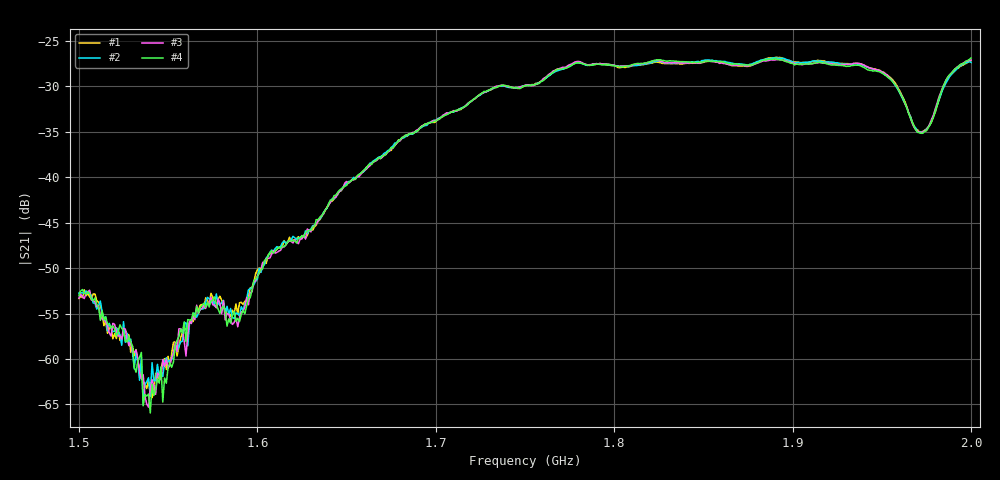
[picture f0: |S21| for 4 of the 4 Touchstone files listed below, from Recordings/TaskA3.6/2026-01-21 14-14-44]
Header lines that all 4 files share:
! NanoVNA-App by SYSJOINT et al v1.1.209 (+OD18)
! Start: 1,5GHz Stop: 2GHz Points: 501
! S-Parameter data: F S11 S21 S12 S22
# Hz S RI R 50
!  Frequency  S11_Real  S11_Imag  S21_Real  S21_Imag  S12_Real  S12_Imag  S22_Real  S22_Imag
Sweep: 1.5 GHz to 2 GHz
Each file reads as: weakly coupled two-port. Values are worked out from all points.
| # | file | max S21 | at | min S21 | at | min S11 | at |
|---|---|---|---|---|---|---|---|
| 1 | 0.s2p | -26.83 dB | 1.891 GHz | -64.3 dB | 1.541 GHz | -29.8 dB | 1.817 GHz |
| 2 | 1.s2p | -26.91 dB | 1.889 GHz | -65.0 dB | 1.536 GHz | -30.0 dB | 1.816 GHz |
| 3 | 2.s2p | -27.09 dB | 1.892 GHz | -65.3 dB | 1.539 GHz | -29.9 dB | 1.816 GHz |
| 4 | 3.s2p | -26.92 dB | 2 GHz | -65.9 dB | 1.54 GHz | -29.2 dB | 1.816 GHz |
